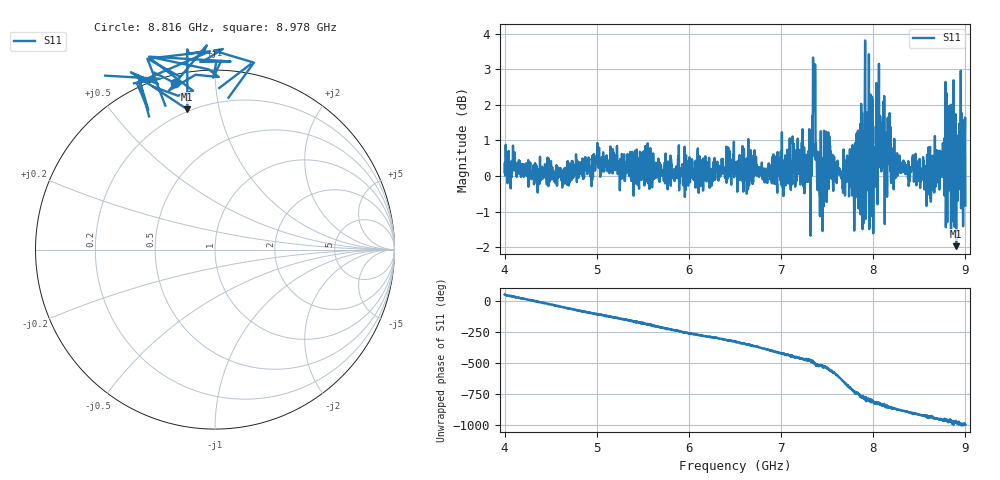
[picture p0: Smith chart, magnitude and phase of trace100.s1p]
! Created with skrf 1.8.0 (http://scikit-rf.org).
# Hz S RI R 50.0
!freq ReS11 ImS11
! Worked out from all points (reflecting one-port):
!   1601 points, 4 GHz to 9 GHz, reference 50 ohm
!   lowest |S11| = -2.0 dB at 8.9 GHz (marker M1), VSWR 8.84, Z = 9.4 + j40.2 ohm
!   phase of S11 starts at 54 deg and turns -1049 deg over the sweep
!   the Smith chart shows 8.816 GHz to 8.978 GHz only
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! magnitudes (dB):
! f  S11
! 4 GHz  0.1
! 4.625 GHz  -0.3
! 5.25 GHz  -0.4
! 5.875 GHz  0.0
! 6.5 GHz  0.2
! 7.125 GHz  1.1
! 7.309 GHz  0.5
! 7.347 GHz  3.3
! 7.362 GHz  2.8
! 7.4 GHz  0.3
! 7.438 GHz  -0.4
! 7.509 GHz  0.6
! 7.669 GHz  -0.3
! 7.75 GHz  0.3
! 7.791 GHz  -0.7
! 7.853 GHz  0.0
! 7.875 GHz  1.2
! 7.928 GHz  0.5
! 7.941 GHz  0.8
! 7.962 GHz  2.2
! 8.022 GHz  -0.3
! 8.097 GHz  0.5
! 8.375 GHz  0.1
! 8.638 GHz  0.3
! 8.816 GHz  -0.4
! 8.9 GHz  -2.0
! 8.972 GHz  0.5
! 9 GHz  -0.8
